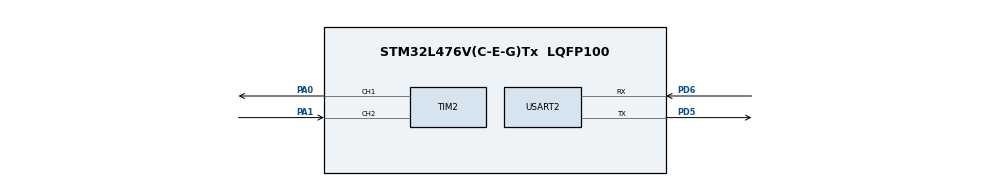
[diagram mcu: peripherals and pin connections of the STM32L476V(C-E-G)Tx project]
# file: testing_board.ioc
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Mcu.Family=STM32L4
Mcu.Name=STM32L476V(C-E-G)Tx
Mcu.Package=LQFP100
NVIC.PriorityGroup=NVIC_PRIORITYGROUP_4
PA0.Signal=S_TIM2_CH1
PA1.Signal=S_TIM2_CH2
PD5.Mode=Asynchronous
PD5.Signal=USART2_TX
PD6.Mode=Asynchronous
PD6.Signal=USART2_RX
ProjectManager.HeapSize=0x200
ProjectManager.StackSize=0x400
ProjectManager.TargetToolchain=STM32CubeIDE
RCC.HSE_VALUE=8000000
RCC.HSI_VALUE=16000000
RCC.LSE_VALUE=32768
RCC.MSI_VALUE=4000000
RCC.VCOOutputFreq_Value=32000000
SH.S_TIM2_CH1.0=TIM2_CH1,PWM Generation1 CH1
SH.S_TIM2_CH2.0=TIM2_CH2,Input_Capture2_from_TI2
TIM2.Channel-Input_Capture2_from_TI2=TIM_CHANNEL_2
TIM2.Channel-PWM\ Generation1\ CH1=TIM_CHANNEL_1
USART2.VirtualMode-Asynchronous=VM_ASYNC
board=custom

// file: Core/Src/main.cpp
/* USER CODE BEGIN Header */
/**
  ******************************************************************************
  * @file           : main.c
  * @brief          : Main program body
  ******************************************************************************
  * @attention
  *
  * <h2><center>&copy; Copyright (c) 2021 STMicroelectronics.
  * All rights reserved.</center></h2>
  *
  * This software component is licensed by ST under BSD 3-Clause license,
  * the "License"; You may not use this file except in compliance with the
  * License. You may obtain a copy of the License at:
  *                        opensource.org/licenses/BSD-3-Clause
  *
  ******************************************************************************
  */
/* USER CODE END Header */
#include "main.h"
#include "Servo/Servo.h"
#include "PWMcapturer/PWMCapturer.h"

TIM_HandleTypeDef htim2;

UART_HandleTypeDef huart2;

void SystemClock_Config(void);
static void MX_GPIO_Init(void);
static void MX_USART2_UART_Init(void);
static void MX_TIM2_Init(void);

int main(void)
{

  /* MCU Configuration--------------------------------------------------------*/

  /* Reset of all peripherals, Initializes the Flash interface and the Systick. */
  HAL_Init();

  /* Configure the system clock */
  SystemClock_Config();

  /* Initialize all configured peripherals */
  MX_GPIO_Init();
  MX_USART2_UART_Init();
  MX_TIM2_Init();
  /* USER CODE BEGIN 2 */

  HAL_TIM_PWM_Start(&htim2, TIM_CHANNEL_1);

  Servo rc_roll_imit(htim2.Instance, 1);

  uint8_t test_1_flag = 1;
  uint8_t test_2_flag = 0;
  uint8_t test_3_flag = 0;

  /* USER CODE END 2 */

  /* Infinite loop */
  /* USER CODE BEGIN WHILE */
  while (1)
  {
	  if (test_1_flag == 1)
	  {
		  HAL_Delay(5000);
		  if(1) //тут условие по времени
		  {
			  HAL_UART_Transmit(&huart2, (uint8_t*)"test1\n", sizeof("test1\n"), 1000);
			  test_1_flag = 0;
			  test_2_flag = 1;
		  }
	  }

	  if (test_2_flag == 1)
	  {
		  HAL_Delay(5000);
	      if(1) //тут условие по времени
	  	  {
	  		   HAL_UART_Transmit(&huart2, (uint8_t*)"test2\n", sizeof("test1\n"), 1000);
	  		   test_2_flag = 0;
	  		   test_3_flag = 1;
	  	  }
	  }

	  if (test_3_flag == 1)
	  {
		  HAL_Delay(5000);
		  if(1) //тут условие по времени
		  {
			   HAL_UART_Transmit(&huart2, (uint8_t*)"test3\n", sizeof("test1\n"), 1000);
			   test_3_flag = 0;
		  }
	  }

	  if((test_1_flag == 0) && (test_2_flag == 0) &&(test_3_flag == 0))
	  {
		  HAL_UART_Transmit(&huart2, (uint8_t*)"tests finished\n", sizeof("ests finished\n"), 1000);
	  }

    /* USER CODE END WHILE */

  }
}

void SystemClock_Config(void)
{
  RCC_OscInitTypeDef RCC_OscInitStruct = {0};
  RCC_ClkInitTypeDef RCC_ClkInitStruct = {0};
  RCC_PeriphCLKInitTypeDef PeriphClkInit = {0};

  /** Initializes the RCC Oscillators according to the specified parameters
  * in the RCC_OscInitTypeDef structure.
  */
  RCC_OscInitStruct.OscillatorType = RCC_OSCILLATORTYPE_MSI;
  RCC_OscInitStruct.MSIState = RCC_MSI_ON;
  RCC_OscInitStruct.MSICalibrationValue = 0;
  RCC_OscInitStruct.MSIClockRange = RCC_MSIRANGE_6;
  RCC_OscInitStruct.PLL.PLLState = RCC_PLL_NONE;
  if (HAL_RCC_OscConfig(&RCC_OscInitStruct) != HAL_OK)
  {
    Error_Handler();
  }
  /** Initializes the CPU, AHB and APB buses clocks
  */
  RCC_ClkInitStruct.ClockType = RCC_CLOCKTYPE_HCLK|RCC_CLOCKTYPE_SYSCLK
                              |RCC_CLOCKTYPE_PCLK1|RCC_CLOCKTYPE_PCLK2;
  RCC_ClkInitStruct.SYSCLKSource = RCC_SYSCLKSOURCE_MSI;
  RCC_ClkInitStruct.AHBCLKDivider = RCC_SYSCLK_DIV1;
  RCC_ClkInitStruct.APB1CLKDivider = RCC_HCLK_DIV1;
  RCC_ClkInitStruct.APB2CLKDivider = RCC_HCLK_DIV1;

  if (HAL_RCC_ClockConfig(&RCC_ClkInitStruct, FLASH_LATENCY_0) != HAL_OK)
  {
    Error_Handler();
  }
  PeriphClkInit.PeriphClockSelection = RCC_PERIPHCLK_USART2;
  PeriphClkInit.Usart2ClockSelection = RCC_USART2CLKSOURCE_PCLK1;
  if (HAL_RCCEx_PeriphCLKConfig(&PeriphClkInit) != HAL_OK)
  {
    Error_Handler();
  }
  /** Configure the main internal regulator output voltage
  */
  if (HAL_PWREx_ControlVoltageScaling(PWR_REGULATOR_VOLTAGE_SCALE1) != HAL_OK)
  {
    Error_Handler();
  }
}

static void MX_TIM2_Init(void)
{

  TIM_MasterConfigTypeDef sMasterConfig = {0};
  TIM_OC_InitTypeDef sConfigOC = {0};
  TIM_IC_InitTypeDef sConfigIC = {0};

  htim2.Instance = TIM2;
  htim2.Init.Prescaler = 0;
  htim2.Init.CounterMode = TIM_COUNTERMODE_UP;
  htim2.Init.Period = 4294967295;
  htim2.Init.ClockDivision = TIM_CLOCKDIVISION_DIV1;
  htim2.Init.AutoReloadPreload = TIM_AUTORELOAD_PRELOAD_DISABLE;
  if (HAL_TIM_PWM_Init(&htim2) != HAL_OK)
  {
    Error_Handler();
  }
  if (HAL_TIM_IC_Init(&htim2) != HAL_OK)
  {
    Error_Handler();
  }
  sMasterConfig.MasterOutputTrigger = TIM_TRGO_RESET;
  sMasterConfig.MasterSlaveMode = TIM_MASTERSLAVEMODE_DISABLE;
  if (HAL_TIMEx_MasterConfigSynchronization(&htim2, &sMasterConfig) != HAL_OK)
  {
    Error_Handler();
  }
  sConfigOC.OCMode = TIM_OCMODE_PWM1;
  sConfigOC.Pulse = 0;
  sConfigOC.OCPolarity = TIM_OCPOLARITY_HIGH;
  sConfigOC.OCFastMode = TIM_OCFAST_DISABLE;
  if (HAL_TIM_PWM_ConfigChannel(&htim2, &sConfigOC, TIM_CHANNEL_1) != HAL_OK)
  {
    Error_Handler();
  }
  sConfigIC.ICPolarity = TIM_INPUTCHANNELPOLARITY_RISING;
  sConfigIC.ICSelection = TIM_ICSELECTION_DIRECTTI;
  sConfigIC.ICPrescaler = TIM_ICPSC_DIV1;
  sConfigIC.ICFilter = 0;
  if (HAL_TIM_IC_ConfigChannel(&htim2, &sConfigIC, TIM_CHANNEL_2) != HAL_OK)
  {
    Error_Handler();
  }
  HAL_TIM_MspPostInit(&htim2);

}

static void MX_USART2_UART_Init(void)
{

  huart2.Instance = USART2;
  huart2.Init.BaudRate = 115200;
  huart2.Init.WordLength = UART_WORDLENGTH_8B;
  huart2.Init.StopBits = UART_STOPBITS_1;
  huart2.Init.Parity = UART_PARITY_NONE;
  huart2.Init.Mode = UART_MODE_TX_RX;
  huart2.Init.HwFlowCtl = UART_HWCONTROL_NONE;
  huart2.Init.OverSampling = UART_OVERSAMPLING_16;
  huart2.Init.OneBitSampling = UART_ONE_BIT_SAMPLE_DISABLE;
  huart2.AdvancedInit.AdvFeatureInit = UART_ADVFEATURE_NO_INIT;
  if (HAL_UART_Init(&huart2) != HAL_OK)
  {
    Error_Handler();
  }

}

static void MX_GPIO_Init(void)
{

  /* GPIO Ports Clock Enable */
  __HAL_RCC_GPIOA_CLK_ENABLE();
  __HAL_RCC_GPIOD_CLK_ENABLE();

}

void Error_Handler(void)
{
}

/************************ (C) COPYRIGHT STMicroelectronics *****END OF FILE****/
